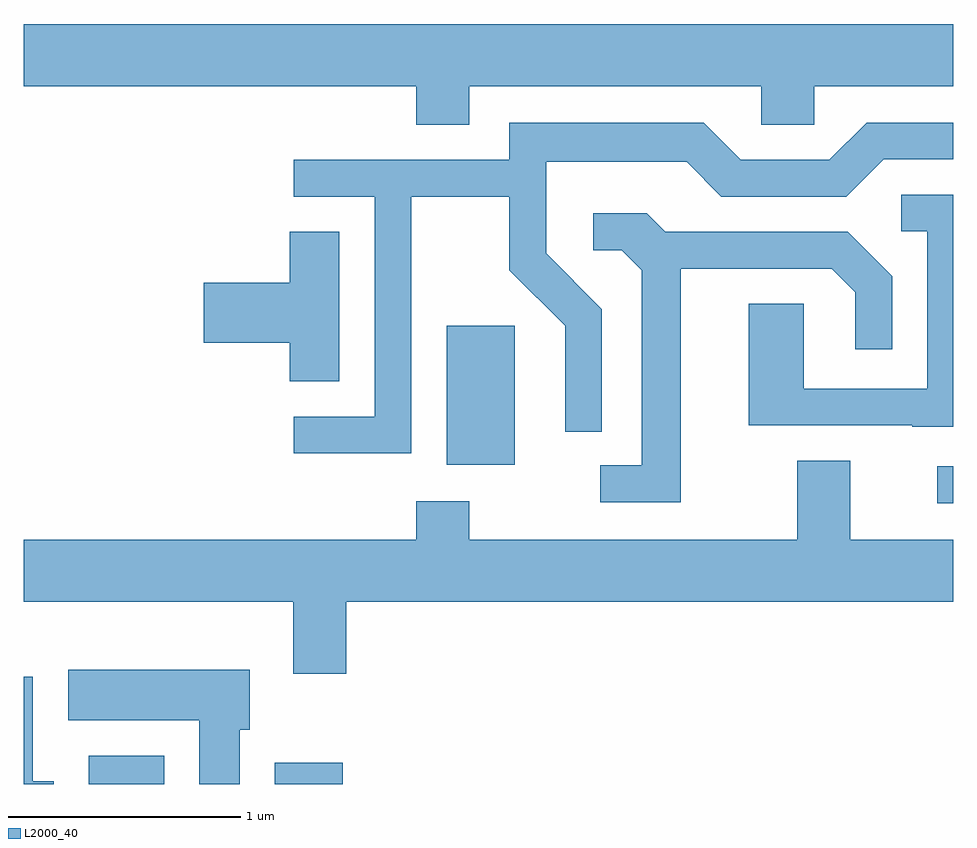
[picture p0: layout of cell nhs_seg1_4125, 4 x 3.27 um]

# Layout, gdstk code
import gdstk
lib = gdstk.Library(unit=1e-6, precision=1e-09)
def R(c, l, rs):  # rectangles x0, y0, x1, y1
    for r in rs: c.add(gdstk.rectangle(r[:2], r[2:], *l))
def P(c, l, *ps):  # polygons
    for p in ps: c.add(gdstk.Polygon(p, *l))
L2000_40 = (2000, 40)

nhs_seg1_4125 = lib.new_cell('nhs_seg1_4125')
R(nhs_seg1_4125, L2000_40, [(309.891,867.712,310.214,867.834), (310.691,867.712,310.984,867.804), (313.543,868.921,313.611,869.079), (311.431,869.086,311.724,869.684)])
P(nhs_seg1_4125, L2000_40, [(311.529,870.716),(312.786,870.716),(312.786,870.551),(313.014,870.551),(313.014,870.716),(313.611,870.716),(313.611,870.984),(309.611,870.984),(309.611,870.716),(311.301,870.716),(311.301,870.551),(311.529,870.551)],
  [(311.279,870.241),(311.701,870.241),(311.701,869.924),(311.941,869.684),(311.941,869.228),(312.099,869.228),(312.099,869.757),(311.859,869.997),(311.859,870.391),(312.464,870.391),(312.614,870.241),(313.152,870.241),(313.312,870.401),(313.611,870.401),(313.611,870.559),(313.239,870.559),(313.079,870.399),(312.697,870.399),(312.537,870.559),(311.701,870.559),(311.701,870.399),(310.773,870.399),(310.773,870.241),(311.121,870.241),(311.121,869.294),(310.773,869.294),(310.773,869.136),(311.279,869.136)],
  [(313.611,870.249),(313.388,870.249),(313.388,870.091),(313.501,870.091),(313.501,869.414),(312.969,869.414),(312.969,869.779),(312.731,869.779),(312.731,869.256),(313.435,869.256),(313.435,869.251),(313.611,869.251)],
  [(312.439,869.931),(313.089,869.931),(313.191,869.829),(313.191,869.583),(313.349,869.583),(313.349,869.897),(313.157,870.089),(312.372,870.089),(312.292,870.169),(312.063,870.169),(312.063,870.011),(312.184,870.011),(312.271,869.924),(312.271,869.084),(312.093,869.084),(312.093,868.926),(312.439,868.926)],
  [(310.969,870.089),(310.756,870.089),(310.756,869.869),(310.386,869.869),(310.386,869.611),(310.756,869.611),(310.756,869.446),(310.969,869.446)],
  [(310.999,868.496),(313.611,868.496),(313.611,868.764),(313.169,868.764),(313.169,869.104),(312.941,869.104),(312.941,868.764),(311.529,868.764),(311.529,868.929),(311.301,868.929),(311.301,868.764),(309.611,868.764),(309.611,868.496),(310.771,868.496),(310.771,868.186),(310.999,868.186)],
  [(310.539,867.946),(310.584,867.946),(310.584,868.204),(309.801,868.204),(309.801,867.986),(310.366,867.986),(310.366,867.712),(310.539,867.712)],
  [(309.739,867.724),(309.649,867.724),(309.649,868.174),(309.611,868.174),(309.611,867.712),(309.739,867.712)])

lib.write_gds('nhs_seg1_4125.gds')
